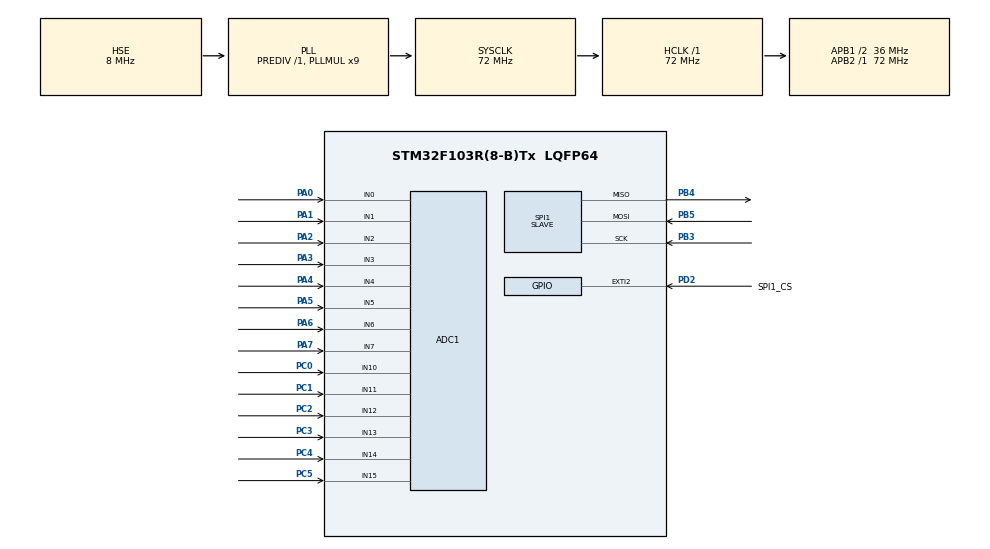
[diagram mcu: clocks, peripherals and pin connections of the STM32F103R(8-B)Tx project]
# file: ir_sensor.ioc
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ADC1.Channel-0\#ChannelRegularConversion=ADC_CHANNEL_15
ADC1.Channel-1\#ChannelRegularConversion=ADC_CHANNEL_14
ADC1.Channel-10\#ChannelRegularConversion=ADC_CHANNEL_13
ADC1.Channel-11\#ChannelRegularConversion=ADC_CHANNEL_12
ADC1.Channel-12\#ChannelRegularConversion=ADC_CHANNEL_11
ADC1.Channel-13\#ChannelRegularConversion=ADC_CHANNEL_10
ADC1.Channel-2\#ChannelRegularConversion=ADC_CHANNEL_7
ADC1.Channel-3\#ChannelRegularConversion=ADC_CHANNEL_6
ADC1.Channel-4\#ChannelRegularConversion=ADC_CHANNEL_5
ADC1.Channel-5\#ChannelRegularConversion=ADC_CHANNEL_4
ADC1.Channel-6\#ChannelRegularConversion=ADC_CHANNEL_3
ADC1.Channel-7\#ChannelRegularConversion=ADC_CHANNEL_2
ADC1.Channel-8\#ChannelRegularConversion=ADC_CHANNEL_1
ADC1.Channel-9\#ChannelRegularConversion=ADC_CHANNEL_0
ADC1.ContinuousConvMode=ENABLE
ADC1.NbrOfConversion=14
ADC1.NbrOfConversionFlag=1
ADC1.Rank-0\#ChannelRegularConversion=1
ADC1.Rank-1\#ChannelRegularConversion=2
ADC1.Rank-10\#ChannelRegularConversion=11
ADC1.Rank-11\#ChannelRegularConversion=12
ADC1.Rank-12\#ChannelRegularConversion=13
ADC1.Rank-13\#ChannelRegularConversion=14
ADC1.Rank-2\#ChannelRegularConversion=3
ADC1.Rank-3\#ChannelRegularConversion=4
ADC1.Rank-4\#ChannelRegularConversion=5
ADC1.Rank-5\#ChannelRegularConversion=6
ADC1.Rank-6\#ChannelRegularConversion=7
ADC1.Rank-7\#ChannelRegularConversion=8
ADC1.Rank-8\#ChannelRegularConversion=9
ADC1.Rank-9\#ChannelRegularConversion=10
ADC1.SamplingTime-0\#ChannelRegularConversion=ADC_SAMPLETIME_71CYCLES_5
ADC1.SamplingTime-1\#ChannelRegularConversion=ADC_SAMPLETIME_71CYCLES_5
ADC1.SamplingTime-10\#ChannelRegularConversion=ADC_SAMPLETIME_71CYCLES_5
ADC1.SamplingTime-11\#ChannelRegularConversion=ADC_SAMPLETIME_71CYCLES_5
ADC1.SamplingTime-12\#ChannelRegularConversion=ADC_SAMPLETIME_71CYCLES_5
ADC1.SamplingTime-13\#ChannelRegularConversion=ADC_SAMPLETIME_71CYCLES_5
ADC1.SamplingTime-2\#ChannelRegularConversion=ADC_SAMPLETIME_71CYCLES_5
ADC1.SamplingTime-3\#ChannelRegularConversion=ADC_SAMPLETIME_71CYCLES_5
ADC1.SamplingTime-4\#ChannelRegularConversion=ADC_SAMPLETIME_71CYCLES_5
ADC1.SamplingTime-5\#ChannelRegularConversion=ADC_SAMPLETIME_71CYCLES_5
ADC1.SamplingTime-6\#ChannelRegularConversion=ADC_SAMPLETIME_71CYCLES_5
ADC1.SamplingTime-7\#ChannelRegularConversion=ADC_SAMPLETIME_71CYCLES_5
ADC1.SamplingTime-8\#ChannelRegularConversion=ADC_SAMPLETIME_71CYCLES_5
ADC1.SamplingTime-9\#ChannelRegularConversion=ADC_SAMPLETIME_71CYCLES_5
ADC1.master=1
Dma.ADC1.0.Direction=DMA_PERIPH_TO_MEMORY
Dma.ADC1.0.Instance=DMA1_Channel1
Dma.ADC1.0.MemDataAlignment=DMA_MDATAALIGN_HALFWORD
Dma.ADC1.0.MemInc=DMA_MINC_ENABLE
Dma.ADC1.0.Mode=DMA_CIRCULAR
Dma.ADC1.0.PeriphDataAlignment=DMA_PDATAALIGN_HALFWORD
Dma.ADC1.0.PeriphInc=DMA_PINC_DISABLE
Dma.ADC1.0.Priority=DMA_PRIORITY_LOW
Dma.Request0=ADC1
Mcu.Family=STM32F1
Mcu.Name=STM32F103R(8-B)Tx
Mcu.Package=LQFP64
NVIC.DMA1_Channel1_IRQn=true\:0\:0\:false\:false\:true\:false\:true\:true
NVIC.EXTI2_IRQn=true\:1\:0\:true\:false\:true\:true\:true\:true
NVIC.PriorityGroup=NVIC_PRIORITYGROUP_4
NVIC.SPI1_IRQn=true\:0\:0\:true\:false\:true\:true\:true\:true
PA0-WKUP.Signal=ADCx_IN0
PA1.Signal=ADCx_IN1
PA13.Mode=Serial_Wire
PA13.Signal=SYS_JTMS-SWDIO
PA14.Mode=Serial_Wire
PA14.Signal=SYS_JTCK-SWCLK
PA2.Signal=ADCx_IN2
PA3.Signal=ADCx_IN3
PA4.Signal=ADCx_IN4
PA5.Signal=ADCx_IN5
PA6.Signal=ADCx_IN6
PA7.Signal=ADCx_IN7
PB3.Mode=Full_Duplex_Slave
PB3.Signal=SPI1_SCK
PB4.Mode=Full_Duplex_Slave
PB4.Signal=SPI1_MISO
PB5.Mode=Full_Duplex_Slave
PB5.Signal=SPI1_MOSI
PC0.Signal=ADCx_IN10
PC1.Signal=ADCx_IN11
PC14-OSC32_IN.Mode=LSE-External-Oscillator
PC14-OSC32_IN.Signal=RCC_OSC32_IN
PC15-OSC32_OUT.Mode=LSE-External-Oscillator
PC15-OSC32_OUT.Signal=RCC_OSC32_OUT
PC2.Signal=ADCx_IN12
PC3.Signal=ADCx_IN13
PC4.Signal=ADCx_IN14
PC5.Signal=ADCx_IN15
PD0-OSC_IN.Mode=HSE-External-Oscillator
PD0-OSC_IN.Signal=RCC_OSC_IN
PD1-OSC_OUT.Mode=HSE-External-Oscillator
PD1-OSC_OUT.Signal=RCC_OSC_OUT
PD2.GPIO_Label=SPI1_CS
PD2.GPIO_ModeDefaultEXTI=GPIO_MODE_IT_RISING_FALLING
PD2.GPIO_PuPd=GPIO_PULLUP
PD2.Signal=GPXTI2
ProjectManager.HeapSize=0x200
ProjectManager.StackSize=0x400
ProjectManager.TargetToolchain=CMake
RCC.ADCPresc=RCC_ADCPCLK2_DIV6
RCC.AHBFreq_Value=72000000
RCC.APB1CLKDivider=RCC_HCLK_DIV2
RCC.APB1Freq_Value=36000000
RCC.APB1TimFreq_Value=72000000
RCC.APB2Freq_Value=72000000
RCC.APB2TimFreq_Value=72000000
RCC.HCLKFreq_Value=72000000
RCC.PLLMUL=RCC_PLL_MUL9
RCC.PLLSourceVirtual=RCC_PLLSOURCE_HSE
RCC.SYSCLKFreq_VALUE=72000000
RCC.SYSCLKSource=RCC_SYSCLKSOURCE_PLLCLK
RCC.USBFreq_Value=72000000
SH.ADCx_IN0.0=ADC1_IN0,IN0
SH.ADCx_IN1.0=ADC1_IN1,IN1
SH.ADCx_IN10.0=ADC1_IN10,IN10
SH.ADCx_IN11.0=ADC1_IN11,IN11
SH.ADCx_IN12.0=ADC1_IN12,IN12
SH.ADCx_IN13.0=ADC1_IN13,IN13
SH.ADCx_IN14.0=ADC1_IN14,IN14
SH.ADCx_IN15.0=ADC1_IN15,IN15
SH.ADCx_IN2.0=ADC1_IN2,IN2
SH.ADCx_IN3.0=ADC1_IN3,IN3
SH.ADCx_IN4.0=ADC1_IN4,IN4
SH.ADCx_IN5.0=ADC1_IN5,IN5
SH.ADCx_IN6.0=ADC1_IN6,IN6
SH.ADCx_IN7.0=ADC1_IN7,IN7
SPI1.DataSize=SPI_DATASIZE_16BIT
SPI1.Direction=SPI_DIRECTION_2LINES
SPI1.Mode=SPI_MODE_SLAVE
SPI1.VirtualType=VM_SLAVE
board=custom

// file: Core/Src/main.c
/* USER CODE BEGIN Header */
/**
  ******************************************************************************
  * @file           : main.c
  * @brief          : Main program body
  ******************************************************************************
  * @attention
  *
  * Copyright (c) 2026 STMicroelectronics.
  * All rights reserved.
  *
  * This software is licensed under terms that can be found in the LICENSE file
  * in the root directory of this software component.
  * If no LICENSE file comes with this software, it is provided AS-IS.
  *
  ******************************************************************************
  */
/* USER CODE END Header */
#include "main.h"
#include "adc.h"
#include "dma.h"
#include "spi.h"
#include "gpio.h"

/* USER CODE BEGIN PD */

#define ADC_CH_COUNT                    14u

/*
 * Frozen/proven 16-bit SPI protocol.
 *
 * SPI data size:
 *   16-bit
 *
 * PING:
 *   main sends 0x5AA5
 *   sensor replies 0xA55A
 *
 * READ:
 *   main sends 0x00C8
 *   sensor replies 14 x uint16_t ADC values
 */
#define SENSOR_CMD_READ                 200u
#define SENSOR_CMD_PING                 0x5AA5u
#define SENSOR_ACK_PING                 0xA55Au
#define SENSOR_READ_MAGIC               0xBEEFu
#define SENSOR_READ_CHECK_SEED          0x1357u
#define SENSOR_READ_FRAME_WORDS         (ADC_CH_COUNT + 3u)
#define SENSOR_READ_VALUE_OFFSET        2u
#define SENSOR_READ_CHECK_INDEX         (SENSOR_READ_FRAME_WORDS - 1u)

/*
 * Power-on race protection.
 *
 * Both boards power on together. If this slave arms SPI too early, garbage
 * clocks or floating lines during main-board boot can leave the SPI peripheral
 * in a bad state. Waiting before the first arm reproduces the manual behavior
 * of pressing the sensor-board reset after the main board is already stable.
 */
#define SENSOR_STARTUP_ARM_DELAY_MS     700u
#define SENSOR_STARTUP_CS_HIGH_MS       50u
#define SENSOR_STARTUP_TIMEOUT_MS       3000u

/*
 * If receive is not armed and SPI is idle, retry arming periodically.
 */
#define SENSOR_REARM_PERIOD_MS          10u

/*
 * If a slave transmit is armed but the master never clocks the response, abort
 * and re-arm command receive. This prevents the slave from getting stuck in
 * BUSY_TX after a bad/partial transaction during power-on.
 */
#define SENSOR_TX_STUCK_MS              100u
#define SENSOR_CS_HIGH_TX_GRACE_MS      2u

/* USER CODE END PD */

/* USER CODE BEGIN PM */

#define SENSOR_CS_Pin                   GPIO_PIN_2
#define SENSOR_CS_GPIO_Port             GPIOD
#define SENSOR_CS_IS_LOW()              (HAL_GPIO_ReadPin(SENSOR_CS_GPIO_Port, SENSOR_CS_Pin) == GPIO_PIN_RESET)

/* USER CODE END PM */

/* USER CODE BEGIN PV */

volatile uint16_t adc_buf[ADC_CH_COUNT];
volatile uint16_t adc_shadow[ADC_CH_COUNT];

static volatile uint16_t rx_cmd = 0u;
static uint16_t tx_ack = SENSOR_ACK_PING;
static uint16_t tx_adc_frame[ADC_CH_COUNT];
static uint16_t tx_read_frame[SENSOR_READ_FRAME_WORDS];
static uint16_t sensor_read_sequence = 0u;

/*
 * SPI slave state/debug.
 * Keep these visible for Live Watch.
 */
volatile uint8_t sensor_rx_armed = 0u;
volatile uint8_t sensor_tx_busy = 0u;

volatile uint32_t sensor_last_arm_ms = 0u;
volatile uint32_t sensor_tx_start_ms = 0u;
volatile uint32_t sensor_last_cs_high_ms = 0u;

volatile uint16_t sensor_last_cmd = 0u;
volatile uint16_t sensor_last_ack = 0u;
volatile HAL_StatusTypeDef sensor_last_hal_status = HAL_OK;

volatile uint32_t sensor_arm_ok_count = 0u;
volatile uint32_t sensor_arm_fail_count = 0u;
volatile uint32_t sensor_ping_count = 0u;
volatile uint32_t sensor_read_count = 0u;
volatile uint32_t sensor_unknown_cmd_count = 0u;
volatile uint32_t sensor_tx_start_fail_count = 0u;
volatile uint32_t sensor_tx_done_count = 0u;
volatile uint32_t sensor_error_count = 0u;
volatile uint32_t sensor_recover_count = 0u;
volatile uint32_t sensor_cs_low_count = 0u;
volatile uint32_t sensor_cs_high_count = 0u;
volatile uint32_t sensor_cs_resync_count = 0u;
volatile uint8_t sensor_cs_level = 1u;
volatile uint8_t sensor_recover_pending = 0u;
volatile uint8_t sensor_startup_ready = 0u;
volatile uint8_t sensor_transaction_start_pending = 0u;

/* USER CODE END PV */

void SystemClock_Config(void);
/* USER CODE BEGIN PFP */

static void sensor_arm_receive(void);
static void sensor_abort_to_receive(void);
static void sensor_recover_spi(void);
static void sensor_service_spi(void);
static uint16_t sensor_read_checksum(const uint16_t *frame);
static void sensor_prepare_adc_frame(void);
static void sensor_wait_startup_cs_idle(void);
static uint8_t sensor_start_transmit(uint8_t *data, uint16_t frame_count);

/* USER CODE END PFP */

/* USER CODE BEGIN 0 */

static void sensor_abort_to_receive(void)
{
    uint16_t i;

    sensor_cs_resync_count++;

    sensor_rx_armed = 0u;
    sensor_tx_busy = 0u;
    rx_cmd = 0u;

    for (i = 0u; i < ADC_CH_COUNT; i++)
    {
        tx_adc_frame[i] = 0u;
    }

    for (i = 0u; i < SENSOR_READ_FRAME_WORDS; i++)
    {
        tx_read_frame[i] = 0u;
    }

    (void)HAL_SPI_Abort(&hspi1);

    if (HAL_SPI_GetState(&hspi1) != HAL_SPI_STATE_READY)
    {
        sensor_last_hal_status = HAL_SPI_DeInit(&hspi1);
        sensor_last_hal_status = HAL_SPI_Init(&hspi1);
    }

    if (SENSOR_CS_IS_LOW())
    {
        sensor_arm_receive();
    }
}

void HAL_GPIO_EXTI_Callback(uint16_t GPIO_Pin)
{
    if (GPIO_Pin != SENSOR_CS_Pin)
    {
        return;
    }

    if (SENSOR_CS_IS_LOW())
    {
        sensor_cs_level = 0u;
        sensor_cs_low_count++;

        if (sensor_startup_ready == 0u)
        {
            return;
        }

        sensor_transaction_start_pending = 1u;

        return;
    }

    sensor_cs_level = 1u;
    sensor_cs_high_count++;
    sensor_last_cs_high_ms = HAL_GetTick();

    if (sensor_startup_ready == 0u)
    {
        return;
    }
}

static void sensor_arm_receive(void)
{
    HAL_StatusTypeDef ret;

    if (!SENSOR_CS_IS_LOW())
    {
        return;
    }

    if (sensor_tx_busy != 0u)
    {
        return;
    }

    if (HAL_SPI_GetState(&hspi1) != HAL_SPI_STATE_READY)
    {
        return;
    }

    rx_cmd = 0u;
    sensor_rx_armed = 0u;

    /*
     * SPI is 16-bit.
     * Size = 1 means receive one uint16_t command frame.
     */
    ret = HAL_SPI_Receive_IT(&hspi1,
                             (uint8_t *)&rx_cmd,
                             1u);

    sensor_last_hal_status = ret;
    sensor_last_arm_ms = HAL_GetTick();

    if (ret == HAL_OK)
    {
        sensor_rx_armed = 1u;
        sensor_arm_ok_count++;
    }
    else
    {
        sensor_arm_fail_count++;
    }
}

static uint8_t sensor_start_transmit(uint8_t *data, uint16_t frame_count)
{
    HAL_StatusTypeDef ret;

    if ((data == 0) || (frame_count == 0u))
    {
        sensor_arm_receive();
        return 0u;
    }

    if (HAL_SPI_GetState(&hspi1) != HAL_SPI_STATE_READY)
    {
        sensor_arm_receive();
        return 0u;
    }

    /*
     * SPI is 16-bit.
     * frame_count is the number of uint16_t frames.
     */
    ret = HAL_SPI_Transmit_IT(&hspi1,
                              data,
                              frame_count);

    sensor_last_hal_status = ret;

    if (ret == HAL_OK)
    {
        sensor_rx_armed = 0u;
        sensor_tx_busy = 1u;
        sensor_cs_level = SENSOR_CS_IS_LOW() ? 0u : 1u;
        sensor_tx_start_ms = HAL_GetTick();
        return 1u;
    }

    sensor_tx_start_fail_count++;
    sensor_arm_receive();
    return 0u;
}

static void sensor_recover_spi(void)
{
    uint16_t i;

    sensor_recover_count++;
    sensor_recover_pending = 0u;

    sensor_rx_armed = 0u;
    sensor_tx_busy = 0u;
    rx_cmd = 0u;

    for (i = 0u; i < ADC_CH_COUNT; i++)
    {
        tx_adc_frame[i] = 0u;
    }

    for (i = 0u; i < SENSOR_READ_FRAME_WORDS; i++)
    {
        tx_read_frame[i] = 0u;
    }

    HAL_SPI_Abort(&hspi1);
    sensor_last_hal_status = HAL_SPI_DeInit(&hspi1);
    sensor_last_hal_status = HAL_SPI_Init(&hspi1);

    sensor_arm_receive();
}

static void sensor_service_spi(void)
{
    uint32_t now;

    now = HAL_GetTick();

    if (sensor_recover_pending != 0u)
    {
        sensor_recover_spi();
        return;
    }

    if (sensor_transaction_start_pending != 0u)
    {
        sensor_transaction_start_pending = 0u;

        if (SENSOR_CS_IS_LOW())
        {
            sensor_abort_to_receive();
            return;
        }
    }

    /*
     * CS-high means the master ended the transaction. If TX-complete has not
     * arrived shortly after that, the response was partial/stuck and should be
     * dropped before the next command.
     */
    if ((sensor_tx_busy != 0u) &&
        (!SENSOR_CS_IS_LOW()) &&
        ((now - sensor_last_cs_high_ms) >= SENSOR_CS_HIGH_TX_GRACE_MS))
    {
        sensor_abort_to_receive();
        return;
    }

    /*
     * Recover from a transmit response that was never clocked by the master.
     */
    if ((sensor_tx_busy != 0u) &&
        ((now - sensor_tx_start_ms) >= SENSOR_TX_STUCK_MS))
    {
        sensor_recover_spi();
        return;
    }

    /*
     * If our software state says idle, SPI should also be ready. If not, the
     * HAL/peripheral state is wedged, so recover instead of waiting forever.
     */
    if ((sensor_rx_armed == 0u) &&
        (sensor_tx_busy == 0u) &&
        (HAL_SPI_GetState(&hspi1) != HAL_SPI_STATE_READY))
    {
        sensor_recover_spi();
        return;
    }

    /*
     * If idle and receive is not armed, keep trying to arm it.
     */
    if ((sensor_rx_armed == 0u) &&
        (sensor_tx_busy == 0u) &&
        SENSOR_CS_IS_LOW() &&
        (HAL_SPI_GetState(&hspi1) == HAL_SPI_STATE_READY) &&
        ((now - sensor_last_arm_ms) >= SENSOR_REARM_PERIOD_MS))
    {
        sensor_arm_receive();
    }
}

void HAL_ADC_ConvCpltCallback(ADC_HandleTypeDef *hadc)
{
    uint16_t i;

    if (hadc != &hadc1)
    {
        return;
    }

    for (i = 0u; i < ADC_CH_COUNT; i++)
    {
        adc_shadow[i] = adc_buf[i];
    }
}

void HAL_SPI_RxCpltCallback(SPI_HandleTypeDef *hspi)
{
    if (hspi != &hspi1)
    {
        return;
    }

    sensor_rx_armed = 0u;
    sensor_last_cmd = rx_cmd;

    if (rx_cmd == SENSOR_CMD_PING)
    {
        sensor_ping_count++;
        sensor_last_ack = tx_ack;

        (void)sensor_start_transmit((uint8_t *)&tx_ack, 1u);
        return;
    }

    if (rx_cmd == SENSOR_CMD_READ)
    {
        sensor_read_count++;
        sensor_prepare_adc_frame();

        /*
         * SPI is 16-bit.
         * READ frame = magic, sequence, 14 x ADC, checksum.
         */
        (void)sensor_start_transmit((uint8_t *)tx_read_frame,
                                    SENSOR_READ_FRAME_WORDS);
        return;
    }

    sensor_unknown_cmd_count++;
    sensor_arm_receive();
}

static uint16_t sensor_read_checksum(const uint16_t *frame)
{
    uint16_t i;
    uint16_t check;

    check = SENSOR_READ_CHECK_SEED ^ SENSOR_CMD_READ;

    for (i = 0u; i < SENSOR_READ_CHECK_INDEX; i++)
    {
        check ^= frame[i];
    }

    return check;
}

static void sensor_prepare_adc_frame(void)
{
    uint16_t i;

    /*
     * Copy the latest ADC snapshot into a stable SPI TX buffer. Do not transmit
     * directly from adc_shadow because the ADC DMA callback can update it while
     * a multi-word SPI response is being clocked by the master.
     */
    for (i = 0u; i < ADC_CH_COUNT; i++)
    {
        tx_adc_frame[i] = adc_shadow[i];
    }

    sensor_read_sequence++;

    tx_read_frame[0u] = SENSOR_READ_MAGIC;
    tx_read_frame[1u] = sensor_read_sequence;

    for (i = 0u; i < ADC_CH_COUNT; i++)
    {
        tx_read_frame[SENSOR_READ_VALUE_OFFSET + i] = tx_adc_frame[i];
    }

    tx_read_frame[SENSOR_READ_CHECK_INDEX] =
        sensor_read_checksum(tx_read_frame);
}

static void sensor_wait_startup_cs_idle(void)
{
    uint32_t start_ms;
    uint32_t high_start_ms;
    uint32_t now;

    start_ms = HAL_GetTick();
    high_start_ms = start_ms;

    while ((HAL_GetTick() - start_ms) < SENSOR_STARTUP_TIMEOUT_MS)
    {
        now = HAL_GetTick();

        if (SENSOR_CS_IS_LOW())
        {
            high_start_ms = now;
        }
        else if ((now - high_start_ms) >= SENSOR_STARTUP_CS_HIGH_MS)
        {
            return;
        }
    }
}

void HAL_SPI_TxCpltCallback(SPI_HandleTypeDef *hspi)
{
    if (hspi != &hspi1)
    {
        return;
    }

    sensor_tx_busy = 0u;
    sensor_tx_done_count++;
}

void HAL_SPI_ErrorCallback(SPI_HandleTypeDef *hspi)
{
    if (hspi != &hspi1)
    {
        return;
    }

    sensor_error_count++;
    sensor_recover_pending = 1u;
}

/* USER CODE END 0 */

int main(void)
{

  /* MCU Configuration--------------------------------------------------------*/

  /* Reset of all peripherals, Initializes the Flash interface and the Systick. */
  HAL_Init();

  /* USER CODE BEGIN Init */

  /*
   * STM32F1 safety when SPI1 is remapped to PB3/PB4/PB5:
   *   PB3/PB4 are JTAG pins by default.
   * Disable JTAG but keep SWD enabled.
   */
  __HAL_RCC_AFIO_CLK_ENABLE();
  __HAL_AFIO_REMAP_SWJ_NOJTAG();

  /* USER CODE END Init */

  /* Configure the system clock */
  SystemClock_Config();

  /* Initialize all configured peripherals */
  MX_GPIO_Init();
  MX_DMA_Init();
  MX_ADC1_Init();
  MX_SPI1_Init();
  /* USER CODE BEGIN 2 */

  for (uint16_t i = 0u; i < ADC_CH_COUNT; i++)
  {
      adc_buf[i] = 0u;
      adc_shadow[i] = 0u;
      tx_adc_frame[i] = 0u;
  }

  for (uint16_t i = 0u; i < SENSOR_READ_FRAME_WORDS; i++)
  {
      tx_read_frame[i] = 0u;
  }

  HAL_ADC_Start_DMA(&hadc1, (uint32_t *)adc_buf, ADC_CH_COUNT);

  /*
   * Important startup guard:
   * Wait for the main-board side to become stable. With software NSS, SPI RX
   * is armed only on a CS falling edge, so boot-time SCK noise while CS is high
   * cannot clock a garbage command into the slave.
   */
  HAL_Delay(SENSOR_STARTUP_ARM_DELAY_MS);
  sensor_wait_startup_cs_idle();

  sensor_startup_ready = 1u;
  sensor_arm_receive();

  /* USER CODE END 2 */

  /* Infinite loop */
  while (1)
  {

    /* USER CODE BEGIN 3 */

    sensor_service_spi();

  }
  /* USER CODE END 3 */
}

void SystemClock_Config(void)
{
  RCC_OscInitTypeDef RCC_OscInitStruct = {0};
  RCC_ClkInitTypeDef RCC_ClkInitStruct = {0};
  RCC_PeriphCLKInitTypeDef PeriphClkInit = {0};

  /** Initializes the RCC Oscillators according to the specified parameters
  * in the RCC_OscInitTypeDef structure.
  */
  RCC_OscInitStruct.OscillatorType = RCC_OSCILLATORTYPE_HSE;
  RCC_OscInitStruct.HSEState = RCC_HSE_ON;
  RCC_OscInitStruct.HSEPredivValue = RCC_HSE_PREDIV_DIV1;
  RCC_OscInitStruct.HSIState = RCC_HSI_ON;
  RCC_OscInitStruct.PLL.PLLState = RCC_PLL_ON;
  RCC_OscInitStruct.PLL.PLLSource = RCC_PLLSOURCE_HSE;
  RCC_OscInitStruct.PLL.PLLMUL = RCC_PLL_MUL9;
  if (HAL_RCC_OscConfig(&RCC_OscInitStruct) != HAL_OK)
  {
    Error_Handler();
  }

  /** Initializes the CPU, AHB and APB buses clocks
  */
  RCC_ClkInitStruct.ClockType = RCC_CLOCKTYPE_HCLK|RCC_CLOCKTYPE_SYSCLK
                              |RCC_CLOCKTYPE_PCLK1|RCC_CLOCKTYPE_PCLK2;
  RCC_ClkInitStruct.SYSCLKSource = RCC_SYSCLKSOURCE_PLLCLK;
  RCC_ClkInitStruct.AHBCLKDivider = RCC_SYSCLK_DIV1;
  RCC_ClkInitStruct.APB1CLKDivider = RCC_HCLK_DIV2;
  RCC_ClkInitStruct.APB2CLKDivider = RCC_HCLK_DIV1;

  if (HAL_RCC_ClockConfig(&RCC_ClkInitStruct, FLASH_LATENCY_2) != HAL_OK)
  {
    Error_Handler();
  }
  PeriphClkInit.PeriphClockSelection = RCC_PERIPHCLK_ADC;
  PeriphClkInit.AdcClockSelection = RCC_ADCPCLK2_DIV6;
  if (HAL_RCCEx_PeriphCLKConfig(&PeriphClkInit) != HAL_OK)
  {
    Error_Handler();
  }
}

void Error_Handler(void)
{
  __disable_irq();
  while (1)
  {
  }
}
#ifdef USE_FULL_ASSERT
/**
  * @brief  Reports the name of the source file and the source line number
  *         where the assert_param error has occurred.
  * @param  file: pointer to the source file name
  * @param  line: assert_param error line source number
  * @retval None
  */
void assert_failed(uint8_t *file, uint32_t line)
{
  /* USER CODE BEGIN 6 */
  (void)file;
  (void)line;
  /* USER CODE END 6 */
}
#endif /* USE_FULL_ASSERT */
